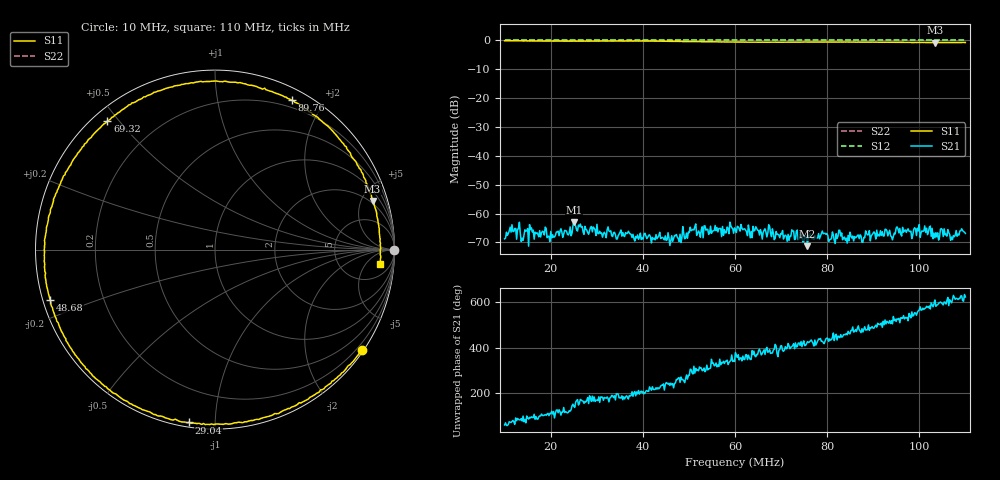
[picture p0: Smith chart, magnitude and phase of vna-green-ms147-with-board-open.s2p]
! Anritsu VNA Master:  Model: MS2034B/10/19/501
! SN:  1337062
! /bd0/ovro-jan-2016/vna-jan/vna-green-ms147-with-board-open.s2p
! Existing Calibration Information:
! TYPE:  Current Settings,  Active Cal Settings
! TIME:  01/13/2016 12:45:57 PM,  01/12/2016 05:57:47 PM
! INTERNAL TEMP:  44.3 C,  46.0 C
! # POINTS:  500,  500
! START FREQ:  10.000 MHz,  10.000 MHz
! STOP FREQ:  110.000 MHz,  110.000 MHz
! SOURCE POWER:  Low,  Low
! IFBW:  100 Hz,  1 kHz
! AVG FACTOR:  1 ,  3
! REF PLANE 1:  0 mm,  0 mm
! REF PLANE 2:  0 mm,  0 mm
! CAL TYPE:  1P2P S11,S21,  1P2P S11,S21
! CAL METHOD:  SOLT,  SOLT
! CAL LINE TYPE:  Coax,  Coax
! DUT PORT 1:  K-Conn(M),  K-Conn(M)
! DUT PORT 2:  N-Conn(M),  N-Conn(M)
! CAL STATUS:  OK: Accuracy High,  --
# GHZ S DB R 50.0
! FREQ.GHZ  S11DB  S11A  S21DB  S21A  S12DB  S12A  S22DB  S22A
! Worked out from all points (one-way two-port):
!   500 points, 10 MHz to 110 MHz, reference 50 ohm
!   highest |S21| = -62.85 dB at 25.03 MHz (marker M1); lowest = -71.3 dB at 75.73 MHz (marker M2)
!   lowest |S11| = -0.7 dB at 103.4 MHz (marker M3), VSWR 23.70, Z = 87.9 + j307 ohm
!   |S11| at or under -10 dB: nowhere
!   |S22| runs from 0.0 to 0.0 dB; largest |S21 - S12| = 1
!   S11 on the Smith chart (normalised r, x): 10 MHz: 0.05, -3.25; 29.04 MHz: 0.02, -0.86; 48.68 MHz: 0.02, -0.15; 69.32 MHz: 0.04, +0.47; 89.76 MHz: 0.12, +1.63; 110 MHz: 11, -12
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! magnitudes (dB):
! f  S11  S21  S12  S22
! 10 MHz  -0.1  -68.7  0.0  0.0
! 11.4 MHz  -0.1  -66.4  0.0  0.0
! 13.81 MHz  -0.1  -68.5  0.0  0.0
! 15.81 MHz  -0.1  -64.9  0.0  0.0
! 19.82 MHz  -0.2  -69.7  0.0  0.0
! 25.03 MHz  -0.2  -62.8  0.0  0.0
! 26.83 MHz  -0.3  -64.5  0.0  0.0
! 29.04 MHz  -0.2  -66.3  0.0  0.0
! 31.64 MHz  -0.2  -66.4  0.0  0.0
! 43.47 MHz  -0.2  -67.7  0.0  0.0
! 48.68 MHz  -0.4  -64.5  0.0  0.0
! 51.08 MHz  -0.4  -65.7  0.0  0.0
! 52.08 MHz  -0.4  -66.0  0.0  0.0
! 60.1 MHz  -0.6  -65.5  0.0  0.0
! 69.32 MHz  -0.6  -67.2  0.0  0.0
! 75.73 MHz  -0.6  -71.3  0.0  0.0
! 76.73 MHz  -0.5  -68.8  0.0  0.0
! 89.76 MHz  -0.6  -67.3  0.0  0.0
! 93.37 MHz  -0.6  -66.7  0.0  0.0
! 102 MHz  -0.7  -66.3  0.0  0.0
! 103.4 MHz  -0.7  -68.4  0.0  0.0
! 110 MHz  -0.7  -66.9  0.0  0.0
